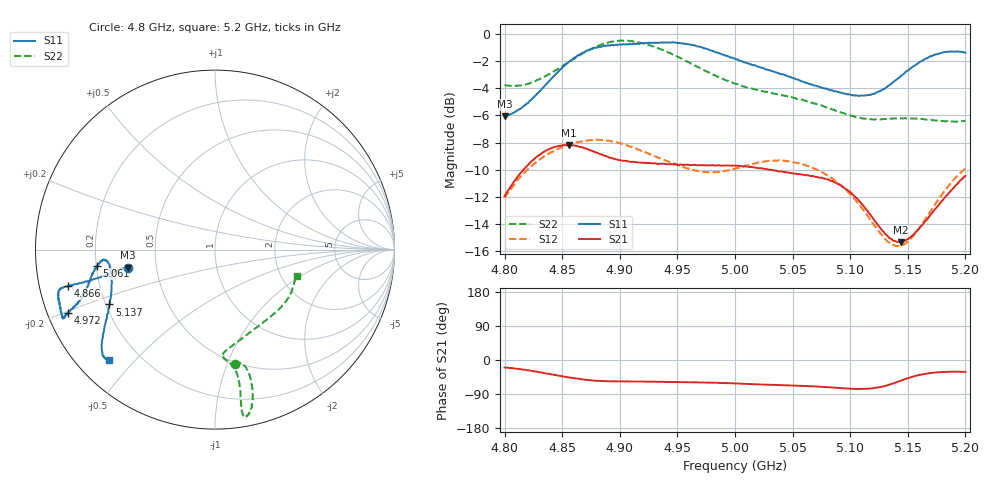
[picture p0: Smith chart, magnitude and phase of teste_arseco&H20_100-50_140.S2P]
! Network Analyzer HP8722D
! Hewlett-Packard
! Data name: Linha & Wilkinson
! Saver's name: Rodrigo Anjos
! Comments: Teste da utilização de aquisição
! continua pelo VNA HP8722D
! Time and date: 6/5/2025 13:44
!  Frequency  S11  S21  S12  S22
# HZ  S  MA R 50
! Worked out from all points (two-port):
!   401 points, 4.8 GHz to 5.2 GHz, reference 50 ohm
!   highest |S21| = -8.17 dB at 4.856 GHz (marker M1); lowest = -15.3 dB at 5.144 GHz (marker M2)
!   |S21| within 3 dB of the highest: 4.806 GHz to 5.092 GHz (286.4 MHz wide, 5.79 % of centre); 5.191345 GHz to end of sweep
!   lowest |S11| = -6.1 dB at 4.8 GHz (marker M3), VSWR 2.98, Z = 16.9 - j4.54 ohm
!   |S11| at or under -10 dB: nowhere
!   |S22| runs from -6.5 to -0.5 dB; largest |S21 - S12| = 0.62
!   S11 on the Smith chart (normalised r, x): 4.8 GHz: 0.34, -0.09; 4.866 GHz: 0.09, -0.12; 4.972 GHz: 0.06, -0.21; 5.061 GHz: 0.20, -0.07; 5.137 GHz: 0.21, -0.23; 5.2 GHz: 0.09, -0.42
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4.8e9  0.4973 -168.3  0.2531 -19.8  0.2494 -141.1  0.6482 -80.3
4.828e9  0.6015 -167.2  0.3539 -31.0  0.3391 -145.2  0.6759 -75.4
4.856e9  0.7909 -165.9  0.3904 -46.1  0.3914 -150.3  0.7891 -74.9
4.866e9  0.8429 -166.1  0.3832 -50.6  0.4017 -152.0  0.8375 -75.4
4.867e9  0.8488 -166.0  0.3834 -51.0  0.4021 -152.3  0.8437 -75.6
4.88e9  0.8889 -165.8  0.3657 -54.8  0.4079 -154.3  0.9003 -76.8
4.9e9  0.9136 -162.8  0.3431 -56.6  0.3957 -156.6  0.9438 -79.2
4.934e9  0.9284 -156.6  0.3325 -57.6  0.3503 -155.7  0.8824 -80.5
4.95e9  0.9263 -155.9  0.3302 -58.3  0.3288 -152.9  0.8253 -80.1
4.972e9  0.8886 -156.7  0.3292 -59.0  0.311 -146.4  0.7402 -79.8
5e9  0.8113 -159.2  0.3275 -61.9  0.3195 -137.4  0.6561 -81.4
5.036e9  0.7213 -165.8  0.3139 -66.1  0.3415 -134.5  0.601 -85.7
5.061e9  0.6627 -172.0  0.3025 -68.6  0.3296 -136.5  0.5685 -84.0
5.067e9  0.6509 -173.2  0.3006 -69.2  0.3222 -137.0  0.5582 -82.7
5.084e9  0.6216 -174.8  0.2884 -72.5  0.2949 -138.5  0.5287 -76.2
5.103e9  0.5945 -171.6  0.2544 -76.3  0.2492 -138.8  0.4975 -65.1
5.118e9  0.598 -164.3  0.2147 -75.2  0.2061 -134.6  0.4857 -54.2
5.134e9  0.6479 -154.4  0.1774 -65.0  0.1707 -120.5  0.4867 -43.2
5.137e9  0.6635 -152.6  0.174 -62.2  0.1678 -116.7  0.4883 -41.5
5.144e9  0.7004 -149.1  0.1714 -54.5  0.1662 -107.3  0.489 -37.4
5.173e9  0.8362 -139.0  0.2245 -33.3  0.2338 -80.9  0.4811 -24.2
5.2e9  0.8529 -133.9  0.3003 -31.6  0.3195 -77.1  0.4778 -17.7
